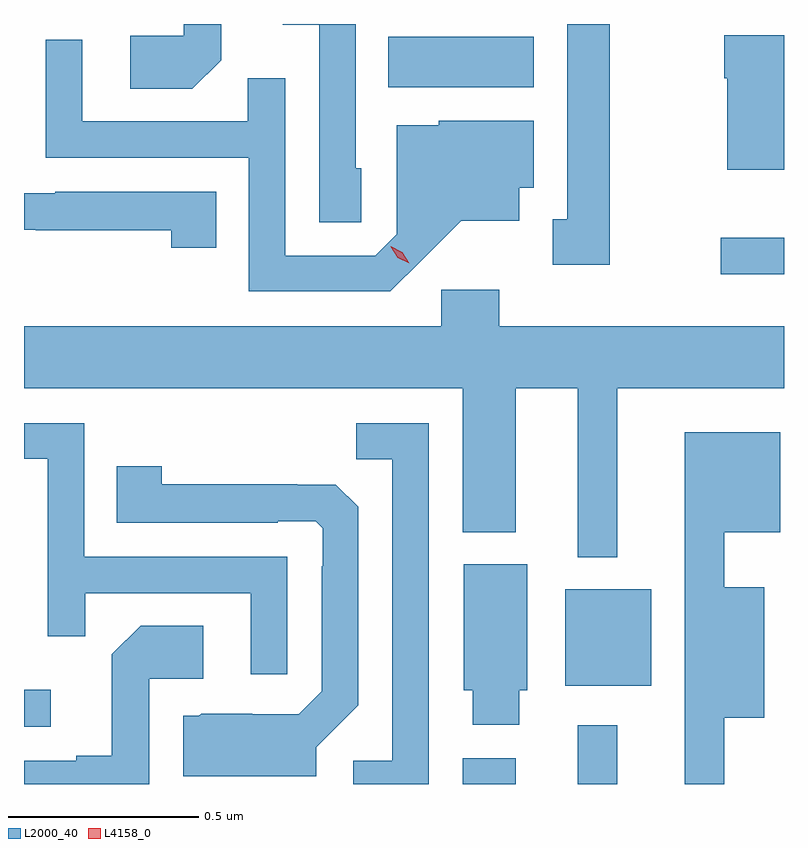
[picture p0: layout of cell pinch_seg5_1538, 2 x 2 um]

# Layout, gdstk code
import gdstk
lib = gdstk.Library(unit=1e-6, precision=1e-09)
def R(c, l, rs):  # rectangles x0, y0, x1, y1
    for r in rs: c.add(gdstk.rectangle(r[:2], r[2:], *l))
def P(c, l, *ps):  # polygons
    for p in ps: c.add(gdstk.Polygon(p, *l))
L2000_40 = (2000, 40)
L4158_0 = (4158, 0)

pinch_seg5_1538 = lib.new_cell('pinch_seg5_1538')
R(pinch_seg5_1538, L2000_40, [(136.676,886.355,136.816,886.423), (136.979,886.355,137.083,886.51), (135.522,886.506,135.592,886.603), (136.946,886.613,137.173,886.867), (137.355,887.696,137.522,887.793), (136.48,888.188,136.864,888.322)])
P(pinch_seg5_1538, L2000_40, [(136.41,887.976),(136.395,887.976),(136.395,888.355),(136.203,888.355),(136.203,888.353),(136.299,888.353),(136.299,887.833),(136.41,887.833)],
  [(137.063,888.355),(136.952,888.355),(136.952,887.841),(136.913,887.841),(136.913,887.721),(137.063,887.721)],
  [(136.041,888.26),(136.041,888.355),(135.942,888.355),(135.942,888.324),(135.801,888.324),(135.801,888.184),(135.965,888.184)],
  [(137.522,888.325),(137.365,888.325),(137.365,888.212),(137.372,888.212),(137.372,887.972),(137.522,887.972)],
  [(136.57,887.735),(136.673,887.837),(136.825,887.837),(136.825,887.924),(136.864,887.924),(136.864,888.1),(136.614,888.1),(136.614,888.088),(136.503,888.088),(136.503,887.802),(136.446,887.745),(136.209,887.745),(136.209,888.212),(136.111,888.212),(136.111,888.099),(135.675,888.099),(135.675,888.313),(135.579,888.313),(135.579,888.003),(136.113,888.003),(136.113,887.652),(136.486,887.652)],
  [(136.028,887.913),(135.604,887.913),(135.604,887.91),(135.522,887.91),(135.522,887.813),(135.553,887.813),(135.553,887.812),(135.91,887.812),(135.91,887.766),(136.028,887.766)],
  [(137.083,887.396),(137.522,887.396),(137.522,887.56),(136.772,887.56),(136.772,887.656),(136.62,887.656),(136.62,887.56),(135.522,887.56),(135.522,887.396),(136.676,887.396),(136.676,887.018),(136.816,887.018),(136.816,887.396),(136.979,887.396),(136.979,886.952),(137.083,886.952)],
  [(136.587,887.304),(136.396,887.304),(136.396,887.209),(136.491,887.209),(136.491,886.416),(136.389,886.416),(136.389,886.355),(136.587,886.355)],
  [(136.215,886.953),(135.681,886.953),(135.681,887.304),(135.522,887.304),(135.522,887.211),(135.585,887.211),(135.585,886.744),(135.683,886.744),(135.683,886.857),(136.119,886.857),(136.119,886.644),(136.215,886.644)],
  [(137.365,886.529),(137.47,886.529),(137.47,886.873),(137.365,886.873),(137.365,887.018),(137.512,887.018),(137.512,887.281),(137.261,887.281),(137.261,886.355),(137.365,886.355)],
  [(136.291,886.452),(136.401,886.562),(136.401,887.084),(136.342,887.143),(136.241,887.143),(136.241,887.144),(135.885,887.144),(135.885,887.191),(135.766,887.191),(135.766,887.043),(136.19,887.043),(136.19,887.046),(136.29,887.046),(136.308,887.028),(136.308,886.928),(136.305,886.928),(136.305,886.599),(136.245,886.539),(136.122,886.539),(136.122,886.54),(135.988,886.54),(135.982,886.534),(135.941,886.534),(135.941,886.376),(136.291,886.376)],
  [(136.825,886.602),(136.846,886.602),(136.846,886.933),(136.679,886.933),(136.679,886.602),(136.703,886.602),(136.703,886.511),(136.825,886.511)],
  [(135.852,886.632),(135.994,886.632),(135.994,886.772),(135.829,886.772),(135.753,886.696),(135.753,886.429),(135.659,886.429),(135.659,886.416),(135.522,886.416),(135.522,886.355),(135.852,886.355)])
P(pinch_seg5_1538, L4158_0, [(136.536,887.726),(136.505,887.74),(136.487,887.769),(136.487,887.77),(136.487,887.77),(136.518,887.755),(136.536,887.726),(136.536,887.726)])

lib.write_gds('pinch_seg5_1538.gds')
